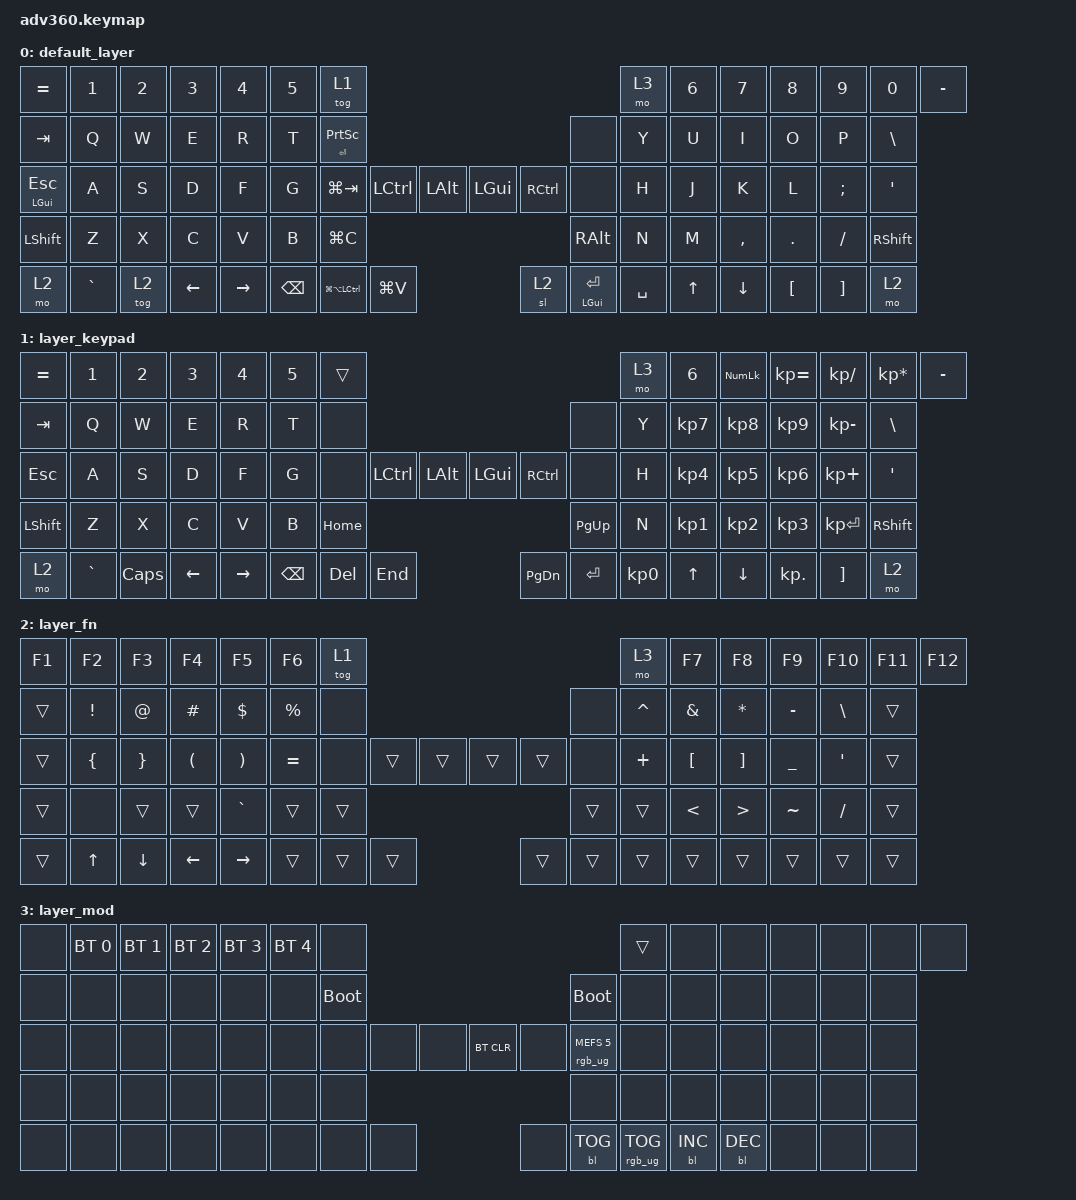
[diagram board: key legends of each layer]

/*
 * Copyright (c) 2020 The ZMK Contributors
 *
 * SPDX-License-Identifier: MIT
 */


/* THIS FILE WAS GENERATED!
 *
 * This file was generated automatically. You may or may not want to
 * edit it directly.
 */

#include <behaviors.dtsi>
#include <dt-bindings/zmk/keys.h>
#include <dt-bindings/zmk/bt.h>
#include <dt-bindings/zmk/rgb.h>
#include <dt-bindings/zmk/backlight.h>

/ {
  behaviors {
    #include "macros.dtsi"
    #include "version.dtsi"

    hm: homerow_mods {
        compatible = "zmk,behavior-hold-tap";
        label = "HOMEROW_MODS";
        #binding-cells = <2>;
        tapping-term-ms = <200>;
        quick_tap_ms = <175>;
        flavor = "tap-preferred";
        bindings = <&kp>, <&kp>;
    };
  };

    keymap {
        compatible = "zmk,keymap";


        default_layer {
            bindings = <
        &kp EQUAL     &kp N1  &kp N2    &kp N3     &kp N4  &kp N5                           &tog 1                                                                                   &mo 3  &kp N6  &kp N7     &kp N8    &kp N9             &kp N0         &kp MINUS
          &kp TAB      &kp Q   &kp W     &kp E      &kp R   &kp T            &mt ENTER PRINTSCREEN                                                                                   &none   &kp Y   &kp U      &kp I     &kp O              &kp P     &kp BACKSLASH
 &mt LEFT_GUI ESC      &kp A   &kp S     &kp D      &kp F   &kp G                      &kp LG(TAB)          &kp LCTRL   &kp LALT                   &kp LEFT_GUI       &kp RCTRL      &none   &kp H   &kp J      &kp K     &kp L           &kp SEMI  &kp SINGLE_QUOTE
        &kp LSHFT      &kp Z   &kp X     &kp C      &kp V   &kp B                                                      &kp LG(C)                  &kp RIGHT_ALT                              &kp N   &kp M  &kp COMMA   &kp DOT           &kp FSLH   &kp RIGHT_SHIFT
            &mo 2  &kp GRAVE  &tog 2  &kp LEFT  &kp RIGHT                            &kp BACKSPACE  &kp LG(LA(LCTRL))  &kp LG(V)                          &sl 2  &mt LGUI ENTER  &kp SPACE          &kp UP   &kp DOWN  &kp LBKT  &kp RIGHT_BRACKET             &mo 2
            >;
        };

        layer_keypad {
            bindings = <
 &kp EQUAL     &kp N1    &kp N2    &kp N3     &kp N4  &kp N5              &trans                                                                 &mo 3  &kp N6  &kp KP_NUM  &kp KP_EQUAL  &kp KP_DIVIDE  &kp KP_MULTIPLY  &kp MINUS
   &kp TAB      &kp Q     &kp W     &kp E      &kp R   &kp T               &none                                                                 &none   &kp Y   &kp KP_N7     &kp KP_N8      &kp KP_N9     &kp KP_MINUS   &kp BSLH
   &kp ESC      &kp A     &kp S     &kp D      &kp F   &kp G               &none  &kp LCTRL  &kp LALT                   &kp LGUI  &kp RCTRL      &none   &kp H   &kp KP_N4     &kp KP_N5      &kp KP_N6      &kp KP_PLUS    &kp SQT
 &kp LSHFT      &kp Z     &kp X     &kp C      &kp V   &kp B                                 &kp HOME                  &kp PG_UP                         &kp N   &kp KP_N1     &kp KP_N2      &kp KP_N3     &kp KP_ENTER  &kp RSHFT
     &mo 2  &kp GRAVE  &kp CAPS  &kp LEFT  &kp RIGHT                    &kp BSPC    &kp DEL   &kp END                  &kp PG_DN  &kp ENTER  &kp KP_N0              &kp UP      &kp DOWN     &kp KP_DOT         &kp RBKT      &mo 2
            >;
        };

        layer_fn {
            bindings = <
 &kp F1           &kp F2           &kp F3                &kp F4                 &kp F5       &kp F6            &tog 1                                                   &mo 3     &kp F7            &kp F8             &kp F9    &kp F10           &kp F11  &kp F12
 &trans  &kp EXCLAMATION      &kp AT_SIGN              &kp HASH               &kp DLLR  &kp PERCENT             &none                                                   &none  &kp CARET          &kp AMPS           &kp STAR  &kp MINUS     &kp BACKSLASH   &trans
 &trans   &kp LEFT_BRACE  &kp RIGHT_BRACE  &kp LEFT_PARENTHESIS  &kp RIGHT_PARENTHESIS    &kp EQUAL             &none  &trans  &trans                  &trans  &trans   &none   &kp PLUS  &kp LEFT_BRACKET  &kp RIGHT_BRACKET  &kp UNDER  &kp SINGLE_QUOTE   &trans
 &trans            &none           &trans                &trans              &kp GRAVE       &trans                            &trans                  &trans                     &trans     &kp LESS_THAN   &kp GREATER_THAN  &kp TILDE         &kp SLASH   &trans
 &trans     &kp UP_ARROW   &kp DOWN_ARROW        &kp LEFT_ARROW        &kp RIGHT_ARROW                         &trans  &trans  &trans                  &trans  &trans  &trans                       &trans             &trans     &trans            &trans   &trans
            >;
        };

        layer_mod {
            bindings = <
  &none  &bt BT_SEL 0  &bt BT_SEL 1  &bt BT_SEL 2  &bt BT_SEL 3  &bt BT_SEL 4                  &none                                                                          &trans   &none       &none       &none   &none   &none   &none
  &none         &none         &none         &none         &none         &none            &bootloader                                                                     &bootloader   &none       &none       &none   &none   &none   &none
  &none         &none         &none         &none         &none         &none                  &none   &none   &none                  &bt BT_CLR       &none  &rgb_ug RGB_MEFS_CMD 5   &none       &none       &none   &none   &none   &none
  &none         &none         &none         &none         &none         &none                                  &none                       &none                                       &none       &none       &none   &none   &none   &none
  &none         &none         &none         &none         &none                                &none   &none   &none                       &none  &bl BL_TOG         &rgb_ug RGB_TOG          &bl BL_INC  &bl BL_DEC   &none   &none   &none
            >;
        };

    };
};
